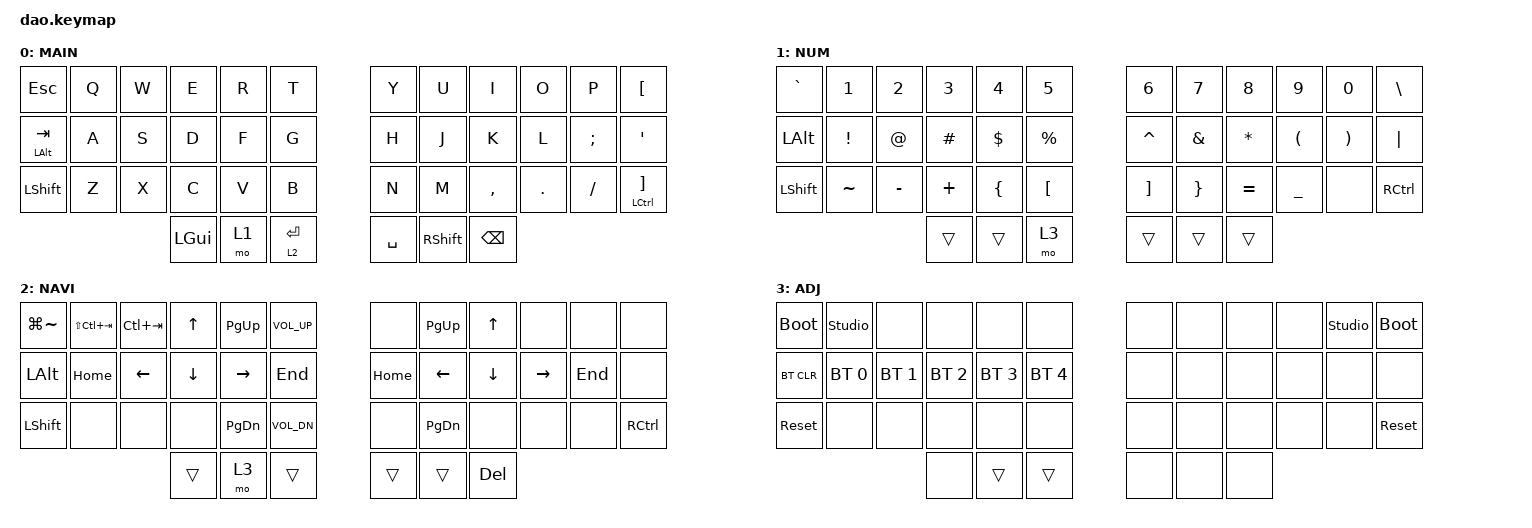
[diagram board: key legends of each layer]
/*
 * Copyright (c) 2021 Rafael Yumagulov
 *
 * SPDX-License-Identifier: MIT
 */

#include <behaviors.dtsi>
#include <dt-bindings/zmk/keys.h>
#include <dt-bindings/zmk/bt.h>
#include <dt-bindings/zmk/outputs.h>


#define QWERTY 0
#define NUMB 1
#define NAVI 2
#define ADJUST 3


&lt { quick_tap_ms = <150>; };//150
&mt { quick_tap_ms = <150>; };//150
//&kscan0 {
//    debounce-press-ms = <10>;
//    debounce-release-ms = <10>;
//};

/ {
    chosen {
        zmk,physical_layout = &dao_crkbd_layout;
        // zmk,physical_layout = &dao_full_layout;
    };
};

/ {
//    behaviors {
//        tdF: tap_dance_lang1 {
//            compatible = "zmk,behavior-tap-dance";
//            #binding-cells = <0>;
//            tapping-term-ms = <200>;
//            bindings = <&kp F>, <&kp LG(F11)>;
//        };
//        tdJ: tap_dance_lang2 {
//            compatible = "zmk,behavior-tap-dance";
//            #binding-cells = <0>;
//            tapping-term-ms = <200>;
//            bindings = <&kp J>, <&kp LG(F12)>;
//        };
//        //lh_pht: left_positional_hold_tap {
//        //    compatible = "zmk,behavior-hold-tap";
//        //    #binding-cells = <2>;
//        //    flavor = "tap-unless-interrupted";
//        //    tapping-term-ms = <100>;                        // <---[[produces tap if held longer than tapping-term-ms]]
//        //    quick-tap-ms = <200>;
//        //    bindings = <&kp>, <&kp>;
//        //    hold-trigger-key-positions = <0 1 2 3 4 5>;    // <---[[right-hand keys]]
//        //};
//    };


    combos {
        compatible = "zmk,combos";

        ChLangLeft {
            bindings = <&kp LG(F11)>;
            key-positions = <27 28>;
            timeout-ms = <20>;
        };

        ChLangRight {
            bindings = <&kp LG(F12)>;
            key-positions = <31 32>;
            timeout-ms = <20>;
        };

        ParaLeft {
            bindings = <&kp LEFT_PARENTHESIS>;
            key-positions = <4 5>;
            timeout-ms = <20>;
        };

        ParaRight {
            bindings = <&kp RIGHT_PARENTHESIS>;
            key-positions = <6 7>;
            timeout-ms = <20>;
        };

        BrakLeft {
            bindings = <&kp LEFT_BRACKET>;
            key-positions = <16 17>;
            timeout-ms = <20>;
        };

        BrakRight {
            bindings = <&kp RIGHT_BRACKET>;
            key-positions = <18 19>;
            timeout-ms = <20>;
        };

        BraceLeft {
            bindings = <&kp LEFT_BRACE>;
            key-positions = <28 29>;
            timeout-ms = <20>;
        };

        BraceRight {
            bindings = <&kp RIGHT_BRACE>;
            key-positions = <30 31>;
            timeout-ms = <20>;
        };

        DoubleQuote {
            bindings = <&kp DOUBLE_QUOTES>;
            key-positions = <15 16>;
            timeout-ms = <20>;
        };

        SingleQuote {
            bindings = <&kp APOSTROPHE>;
            key-positions = <19 20>;
            timeout-ms = <20>;
        };

        //LangRu {
        //    bindings = <&kp LG(F11)>;
        //    key-positions = <0 1>;
        //    timeout-ms = <20>;
        //};

        //LangUs {
        //   bindings = <&kp LG(F12)>;
        //    key-positions = <10 11>;
        //    timeout-ms = <20>;
        //};

        //LangRuL {
        //    bindings = <&kp LG(F11)>;
        //    key-positions = <36 38>;
        //    timeout-ms = <20>;
        //};

        //LangUsL {
        //    bindings = <&kp LG(F12)>;
        //    key-positions = <39 41>;
        //    timeout-ms = <20>;
        //};

        TildaSign {
            bindings = <&kp TILDE>;
            key-positions = <0 12>;
            timeout-ms = <20>;
        };

        GraveSign {
            bindings = <&kp GRAVE>;
            key-positions = <12 24>;
            timeout-ms = <20>;
        };

        MinusSign {
            bindings = <&kp MINUS>;
            key-positions = <3 4>;
            timeout-ms = <20>;
        };

        PlusSign {
            bindings = <&kp PLUS>;
            key-positions = <2 3>;
            timeout-ms = <20>;
        };

        UnderscoreSign {
            bindings = <&kp UNDERSCORE>;
            key-positions = <7 8>;
            timeout-ms = <20>;
        };

        PipeSign {
            bindings = <&kp PIPE>;
            key-positions = <8 9>;
            timeout-ms = <20>;
        };
    };
};

/ {
     keymap {
        compatible = "zmk,keymap";


        default_layer {
            display-name = "MAIN";
            bindings = <
      &kp ESC   &kp Q   &kp W     &kp E   &kp R        &kp T              &kp Y      &kp U          &kp I    &kp O     &kp P         &kp LEFT_BRACKET
 &mt LALT TAB   &kp A   &kp S     &kp D   &kp F         &kp G              &kp H      &kp J           &kp K    &kp L  &kp SEMI                 &kp APOS
    &kp LSHFT   &kp Z   &kp X     &kp C   &kp V        &kp B              &kp N      &kp M      &kp COMMA  &kp DOT  &kp FSLH  &mt LCTRL RIGHT_BRACKET
                               &kp LGUI   &mo 1  &lt 2 ENTER          &kp SPACE  &kp RSHFT  &kp BACKSPACE
            >;
        };

        layer_NUM_LAYER {
            display-name = "NUM";
            bindings = <
      &kp GRAVE           &kp N1       &kp N2    &kp N3          &kp N4            &kp N5                     &kp N6           &kp N7        &kp N8                &kp N9                 &kp N0      &kp BACKSLASH
   &kp LEFT_ALT  &kp EXCLAMATION  &kp AT_SIGN  &kp HASH      &kp DOLLAR       &kp PERCENT                  &kp CARET    &kp AMPERSAND  &kp ASTERISK  &kp LEFT_PARENTHESIS  &kp RIGHT_PARENTHESIS           &kp PIPE
 &kp LEFT_SHIFT        &kp TILDE    &kp MINUS  &kp PLUS  &kp LEFT_BRACE  &kp LEFT_BRACKET          &kp RIGHT_BRACKET  &kp RIGHT_BRACE     &kp EQUAL        &kp UNDERSCORE                  &none  &kp RIGHT_CONTROL
                                                 &trans          &trans             &mo 3                     &trans           &trans        &trans
            >;
        };

        layer_NAVI_LAYER {
            display-name = "NAVI";
            bindings = <
   &kp LG(TILDE)     &kp LS(LC(TAB))     &kp LC(TAB)    &kp UP    &kp PAGE_UP    &kp C_VOL_UP             &none    &kp PAGE_UP    &kp UP   &none  &none             &none
   &kp LEFT_ALT  &kp HOME  &kp LEFT  &kp DOWN      &kp RIGHT  &kp END          &kp HOME       &kp LEFT  &kp DOWN  &kp RIGHT   &kp END              &none
 &kp LEFT_SHIFT     &none     &none     &none  &kp PAGE_DOWN    &kp C_VOL_DN             &none  &kp PAGE_DOWN     &none      &none     &none  &kp RIGHT_CONTROL
                                       &trans          &mo 3   &trans            &trans         &trans   &kp DEL
            >;
        };

        layer_ADJUST_LAYER {
            display-name = "ADJ";
            bindings = <
     &bootloader   &studio_unlock         &none         &none         &none         &none           &none   &none   &none   &none   &studio_unlock   &bootloader
 &bt BT_CLR  &bt BT_SEL 0  &bt BT_SEL 1  &bt BT_SEL 2  &bt BT_SEL 3  &bt BT_SEL 4           &none   &none   &none   &none   &none   &none
      &sys_reset         &none         &none         &none         &none         &none           &none   &none   &none   &none   &none   &sys_reset
                                                &none        &trans        &trans           &none   &none   &none
            >;
        };

    };
};
